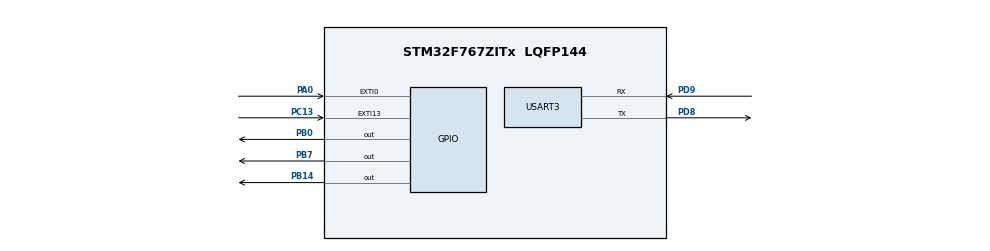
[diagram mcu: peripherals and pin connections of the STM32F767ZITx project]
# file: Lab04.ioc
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Mcu.Family=STM32F7
Mcu.Name=STM32F767ZITx
Mcu.Package=LQFP144
NVIC.EXTI0_IRQn=true\:2\:3\:true\:false\:true\:true\:true\:true
NVIC.EXTI15_10_IRQn=true\:3\:1\:true\:false\:true\:true\:true\:true
NVIC.PriorityGroup=NVIC_PRIORITYGROUP_2
PA0/WKUP.GPIO_ModeDefaultEXTI=GPIO_MODE_IT_FALLING
PA0/WKUP.Signal=GPXTI0
PB0.Signal=GPIO_Output
PB14.Signal=GPIO_Output
PB7.Signal=GPIO_Output
PC13.Signal=GPXTI13
PD8.Mode=Asynchronous
PD8.Signal=USART3_TX
PD9.Mode=Asynchronous
PD9.Signal=USART3_RX
ProjectManager.HeapSize=0x200
ProjectManager.StackSize=0x400
ProjectManager.TargetToolchain=STM32CubeIDE
RCC.HSE_VALUE=25000000
RCC.HSI_VALUE=16000000
RCC.LSE_VALUE=32768
RCC.USBFreq_Value=96000000
RCC.VCOOutputFreq_Value=192000000
USART3.VirtualMode-Asynchronous=VM_ASYNC
board=custom

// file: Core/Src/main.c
/* USER CODE BEGIN Header */
/**
  ******************************************************************************
  * @file           : main.c
  * @brief          : Main program body
  ******************************************************************************
  * @attention
  *
  * Copyright (c) 2023 STMicroelectronics.
  * All rights reserved.
  *
  * This software is licensed under terms that can be found in the LICENSE file
  * in the root directory of this software component.
  * If no LICENSE file comes with this software, it is provided AS-IS.
  *
  ******************************************************************************
  */
/* USER CODE END Header */
#include "main.h"
#include "usart.h"
#include "gpio.h"

void SystemClock_Config(void);
static void MPU_Initialize(void);
static void MPU_Config(void);

int main(void)
{

  /* MCU Configuration--------------------------------------------------------*/

  /* Reset of all peripherals, Initializes the Flash interface and the Systick. */
  HAL_Init();

  /* MPU Configuration--------------------------------------------------------*/
  MPU_Config();

  /* Configure the system clock */
  SystemClock_Config();

  /* Initialize all configured peripherals */
  MX_GPIO_Init();
  MX_USART3_UART_Init();

  /* Infinite loop */
  while (1)
  {
    /* USER CODE BEGIN 3 */
	  Question1();
  }
  /* USER CODE END 3 */
}

void SystemClock_Config(void)
{
  RCC_OscInitTypeDef RCC_OscInitStruct = {0};
  RCC_ClkInitTypeDef RCC_ClkInitStruct = {0};

  /** Configure the main internal regulator output voltage
  */
  __HAL_RCC_PWR_CLK_ENABLE();
  __HAL_PWR_VOLTAGESCALING_CONFIG(PWR_REGULATOR_VOLTAGE_SCALE3);

  /** Initializes the RCC Oscillators according to the specified parameters
  * in the RCC_OscInitTypeDef structure.
  */
  RCC_OscInitStruct.OscillatorType = RCC_OSCILLATORTYPE_HSI;
  RCC_OscInitStruct.HSIState = RCC_HSI_ON;
  RCC_OscInitStruct.HSICalibrationValue = RCC_HSICALIBRATION_DEFAULT;
  RCC_OscInitStruct.PLL.PLLState = RCC_PLL_NONE;
  if (HAL_RCC_OscConfig(&RCC_OscInitStruct) != HAL_OK)
  {
    Error_Handler();
  }

  /** Initializes the CPU, AHB and APB buses clocks
  */
  RCC_ClkInitStruct.ClockType = RCC_CLOCKTYPE_HCLK|RCC_CLOCKTYPE_SYSCLK
                              |RCC_CLOCKTYPE_PCLK1|RCC_CLOCKTYPE_PCLK2;
  RCC_ClkInitStruct.SYSCLKSource = RCC_SYSCLKSOURCE_HSI;
  RCC_ClkInitStruct.AHBCLKDivider = RCC_SYSCLK_DIV1;
  RCC_ClkInitStruct.APB1CLKDivider = RCC_HCLK_DIV1;
  RCC_ClkInitStruct.APB2CLKDivider = RCC_HCLK_DIV1;

  if (HAL_RCC_ClockConfig(&RCC_ClkInitStruct, FLASH_LATENCY_0) != HAL_OK)
  {
    Error_Handler();
  }
}

/* USER CODE BEGIN 4 */
void HAL_GPIO_EXTI_Callback(uint16_t GPIO_Pin)
{
	if (GPIO_Pin == GPIO_PIN_13)
	{
		HAL_UART_Transmit(&huart3, (uint8_t *) "---", 3, 100);
		Delay(400);

		for (int i = 0; i < 20; i++)
		{
			printOut("B");
		}
	}

	if (GPIO_Pin == GPIO_PIN_0)
	{
		printOut("---");
		Delay(400);

		for (int i = 0; i < 20; i++)
		{
			printOut("E");
		}
	}
}

void printOut(char text[])
{
	HAL_UART_Transmit(&huart3, (uint8_t*) text, strlen(text), 100);
	defualtDelay();
}

void printOutLine(char text[])
{
	printOut(text);
	printOut("\n\r");
}

void defualtDelay(void)
{
	HAL_Delay(200);
}

void Delay(uint32_t delay) {
	HAL_Delay(delay);
}

void Question1(void) {
	printOut(".");
}

/* USER CODE END 4 */

/* MPU Configuration */

void MPU_Config(void)
{
  MPU_Region_InitTypeDef MPU_InitStruct = {0};

  /* Disables the MPU */
  HAL_MPU_Disable();

  /** Initializes and configures the Region and the memory to be protected
  */
  MPU_InitStruct.Enable = MPU_REGION_ENABLE;
  MPU_InitStruct.Number = MPU_REGION_NUMBER0;
  MPU_InitStruct.BaseAddress = 0x0;
  MPU_InitStruct.Size = MPU_REGION_SIZE_4GB;
  MPU_InitStruct.SubRegionDisable = 0x87;
  MPU_InitStruct.TypeExtField = MPU_TEX_LEVEL0;
  MPU_InitStruct.AccessPermission = MPU_REGION_NO_ACCESS;
  MPU_InitStruct.DisableExec = MPU_INSTRUCTION_ACCESS_DISABLE;
  MPU_InitStruct.IsShareable = MPU_ACCESS_SHAREABLE;
  MPU_InitStruct.IsCacheable = MPU_ACCESS_NOT_CACHEABLE;
  MPU_InitStruct.IsBufferable = MPU_ACCESS_NOT_BUFFERABLE;

  HAL_MPU_ConfigRegion(&MPU_InitStruct);
  /* Enables the MPU */
  HAL_MPU_Enable(MPU_PRIVILEGED_DEFAULT);

}

void Error_Handler(void)
{
  __disable_irq();
  while (1)
  {
  }
}
